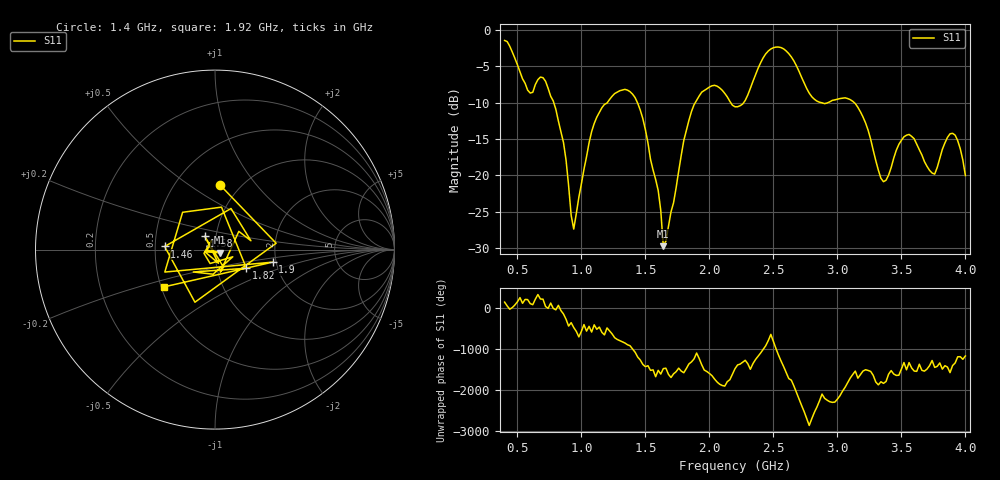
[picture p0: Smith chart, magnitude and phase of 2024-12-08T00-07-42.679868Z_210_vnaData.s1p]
!Created with skrf (http://scikit-rf.org).
# Hz S RI R 50.0
!freq ReS11 ImS11
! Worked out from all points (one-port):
!   181 points, 400 MHz to 4 GHz, reference 50 ohm
!   lowest |S11| = -29.8 dB at 1.64 GHz (marker M1), VSWR 1.07, Z = 52.8 - j1.84 ohm
!   |S11| at or under -10 dB: 784.4 MHz to 1.202 GHz (417.5 MHz wide, 42 % of centre); 1.438 GHz to 1.889 GHz (450.9 MHz wide, 27.1 % of centre); 3.133 GHz to end of sweep (the widest 3 of 5)
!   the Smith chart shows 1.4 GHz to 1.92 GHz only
!   S11 on the Smith chart (normalised r, x): 1.4 GHz: 0.81, +0.67; 1.46 GHz: 0.56, +0.02; 1.58 GHz: 0.88, +0.13; 1.82 GHz: 1.39, -0.30; 1.9 GHz: 1.92, -0.30; 1.92 GHz: 0.52, -0.25
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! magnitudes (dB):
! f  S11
! 400 MHz  -1.4
! 600 MHz  -8.7
! 720 MHz  -7.0
! 860 MHz  -15.5
! 940 MHz  -27.4
! 1.1 GHz  -12.9
! 1.3 GHz  -8.3
! 1.4 GHz  -8.8
! 1.46 GHz  -11.0
! 1.58 GHz  -20.6
! 1.62 GHz  -24.8
! 1.64 GHz  -29.8
! 1.76 GHz  -19.4
! 1.82 GHz  -13.8
! 1.9 GHz  -9.7
! 1.92 GHz  -9.1
! 2.04 GHz  -7.6
! 2.2 GHz  -10.6
! 2.48 GHz  -2.6
! 2.66 GHz  -4.2
! 2.84 GHz  -9.8
! 3.1 GHz  -9.6
! 3.22 GHz  -12.8
! 3.36 GHz  -20.9
! 3.56 GHz  -14.4
! 3.76 GHz  -19.8
! 3.92 GHz  -14.5
! 4 GHz  -20.0
